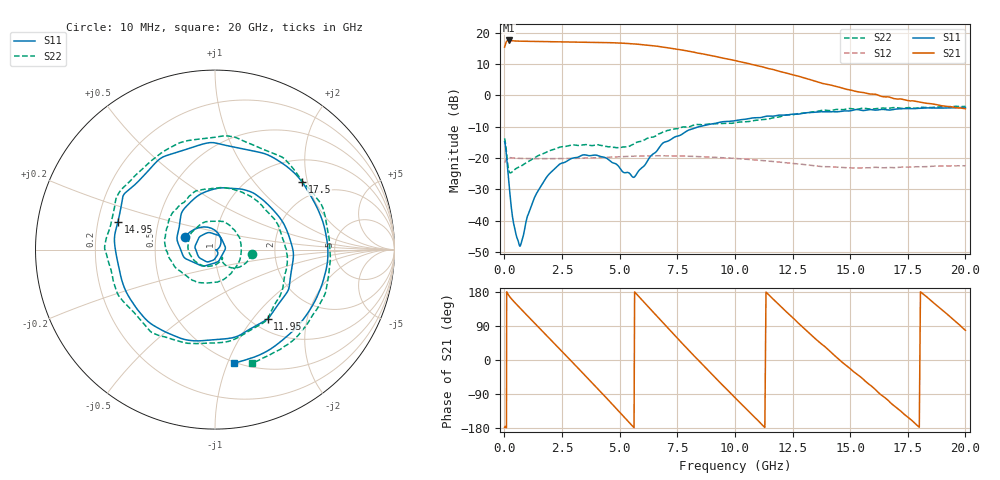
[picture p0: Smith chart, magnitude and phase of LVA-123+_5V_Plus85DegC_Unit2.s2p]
!Mini-Circuits Laboratory
!Date: 7/15/2015 at 12:42:58 PM
!S2P DATA File Format
!Type: MMIC Amplifier
!Model: LVA-123+
!S/N: Unit 2
!Fixture: Unit soldered on TB-841+, no port extension
!PIN OUT: PORT 1 - PIN 2, PORT 2 - PIN 5, GROUND - PADDLE, NOT CONNECTED - ALL OTHER PINS
!TEST CONDITIONS: Temp= 85 (Deg C) RF Power= -25.00 (dBm) V limit=5(V) I limit=150(mA) Z=50 OHM
!PROD RUN: Q16010, DATE CODE: 1527
!WAFER/LOT#: BH175P001-02-01EV
!Network Analyzer: PNA-X N5242A S/N 71404 CAL DUE: 12/5/2015
!P.Supply/Multimeter: HP E3632A S/N 63249 CAL DUE: 12/11/2015
# Hz  S  dB  R  50
!Frequency  S11 dB  S11 Deg  S21 dB  S21 Deg  S12 dB  S12 Deg  S22 dB  S22 Deg
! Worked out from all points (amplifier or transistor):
!   660 points, 10 MHz to 20 GHz, reference 50 ohm
!   highest |S21| = 17.5 dB at 190 MHz (marker M1)
!   |S21| within 3 dB of that: start of sweep to 7.664 GHz
!   unconditionally stable (mu >= 1): start of sweep to end of sweep
!   at 1.275 GHz: K = 1.06, MAG = 17.2 dB, |S12| = -20.2 dB
!   at 6.775 GHz: K = 1.04, MAG = 16.2 dB, |S12| = -19.3 dB
!   at 20 GHz: K = 3.23, MAG = 1.1 dB, |S12| = -22.5 dB
!   S11 on the Smith chart (normalised r, x): 10 MHz: 0.71, +0.10; 11.95 GHz: 1.18, -1.19; 14.95 GHz: 0.28, +0.13; 17.5 GHz: 1.54, +1.85; 20 GHz: 0.49, -1.06
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1e7  -14.79 157.9  15.38 -177.8  -21.50 3.3  -13.74 -6.2
1.9e8  -27.36 42.9  17.49 170.4  -19.83 -7.4  -23.86 -55.1
1e9  -38.52 -28.2  17.20 116.8  -20.16 -48.8  -21.26 -91.6
1.6e9  -28.82 -72.9  17.13 79.1  -20.20 -76.6  -18.86 -130.3
2.525e9  -21.56 -128.2  17.04 21.0  -20.17 -120.2  -16.39 173.6
3.35e9  -19.14 176.7  16.95 -31.1  -20.06 -159.2  -15.88 124.2
3.85e9  -19.10 146.1  16.90 -63.0  -19.94 177.0  -16.01 88.4
4.325e9  -19.75 115.1  16.82 -93.6  -19.80 154.1  -16.23 52.3
5.325e9  -24.59 14.5  16.53 -158.9  -19.48 104.6  -16.37 -40.8
5.95e9  -23.19 -76.8  16.18 159.8  -19.34 72.9  -14.66 -96.2
6.675e9  -17.15 -149.5  15.59 111.7  -19.26 35.4  -12.40 -154.4
7.325e9  -13.56 169.6  14.88 69.2  -19.32 1.9  -10.83 163.9
8.2e9  -10.60 119.1  13.76 12.8  -19.47 -43.4  -9.57 114.0
9.175e9  -8.91 71.4  12.35 -48.5  -19.78 -93.4  -9.05 67.6
1.005e10  -8.03 30.5  10.99 -102.1  -20.16 -138.5  -8.70 30.1
1.1e10  -7.15 -10.2  9.40 -159.6  -20.68 174.0  -7.89 -4.1
1.195e10  -6.30 -52.6  7.63 143.4  -21.33 126.3  -6.85 -44.0
1.335e10  -5.47 -118.2  4.80 64.0  -22.36 59.1  -5.30 -106.0
1.495e10  -4.99 163.9  1.78 -20.3  -23.12 -13.2  -4.23 179.6
1.67e10  -4.71 77.5  -0.57 -109.7  -23.01 -93.4  -4.11 92.9
1.75e10  -4.23 37.7  -1.67 -150.6  -22.92 -131.6  -3.92 54.2
2e10  -3.85 -80.4  -4.31 78.2  -22.50 104.7  -3.54 -71.8
